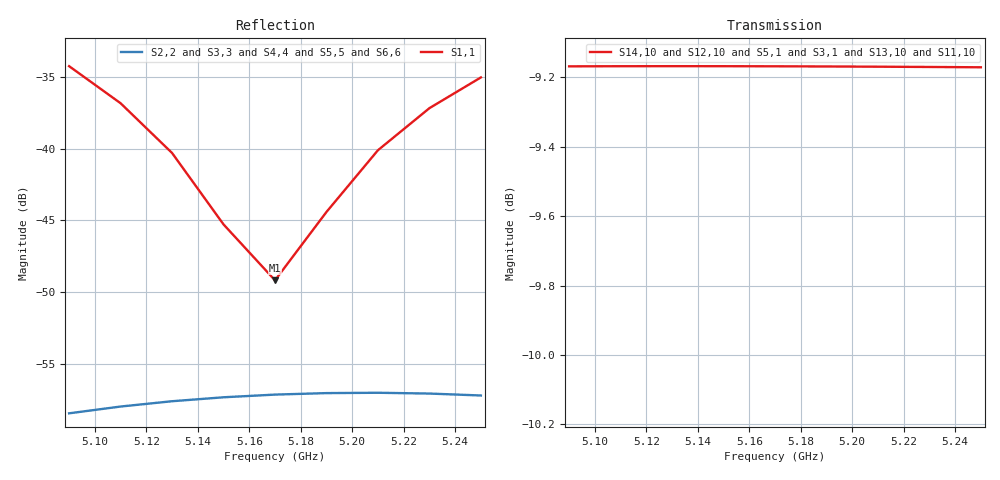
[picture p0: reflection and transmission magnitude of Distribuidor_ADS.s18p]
! Created with skrf 2.0.1 (http://scikit-rf.org).
! Port[1] = A_IN
! Port[2] = A1
! Port[3] = A2
! Port[4] = A3
! Port[5] = A4
! Port[6] = A5
! Port[7] = A6
! Port[8] = A7
! Port[9] = A8
! Port[10] = B_IN
! Port[11] = B1
! Port[12] = B2
! Port[13] = B3
! Port[14] = B4
! Port[15] = B5
! Port[16] = B6
! Port[17] = B7
! Port[18] = B8
!freq ReS11 ImS11 ReS12 ImS12 ReS13 ImS13
! ReS14 ImS14 ReS15 ImS15 ReS16 ImS16 ReS17 ImS17
! ReS18 ImS18 ReS19 ImS19 ReS110 ImS110 ReS111 ImS111
! ReS112 ImS112 ReS113 ImS113 ReS114 ImS114 ReS115 ImS115
! ReS116 ImS116 ReS117 ImS117 ReS118 ImS118
! ReS21 ImS21 ReS22 ImS22 ReS23 ImS23
! ReS24 ImS24 ReS25 ImS25 ReS26 ImS26 ReS27 ImS27
! ReS28 ImS28 ReS29 ImS29 ReS210 ImS210 ReS211 ImS211
! ReS212 ImS212 ReS213 ImS213 ReS214 ImS214 ReS215 ImS215
! ReS216 ImS216 ReS217 ImS217 ReS218 ImS218
! ReS31 ImS31 ReS32 ImS32 ReS33 ImS33
! ReS34 ImS34 ReS35 ImS35 ReS36 ImS36 ReS37 ImS37
! ReS38 ImS38 ReS39 ImS39 ReS310 ImS310 ReS311 ImS311
! ReS312 ImS312 ReS313 ImS313 ReS314 ImS314 ReS315 ImS315
! ReS316 ImS316 ReS317 ImS317 ReS318 ImS318
! ReS41 ImS41 ReS42 ImS42 ReS43 ImS43
! ReS44 ImS44 ReS45 ImS45 ReS46 ImS46 ReS47 ImS47
! ReS48 ImS48 ReS49 ImS49 ReS410 ImS410 ReS411 ImS411
! ReS412 ImS412 ReS413 ImS413 ReS414 ImS414 ReS415 ImS415
! ReS416 ImS416 ReS417 ImS417 ReS418 ImS418
! ReS51 ImS51 ReS52 ImS52 ReS53 ImS53
! ReS54 ImS54 ReS55 ImS55 ReS56 ImS56 ReS57 ImS57
! ReS58 ImS58 ReS59 ImS59 ReS510 ImS510 ReS511 ImS511
! ReS512 ImS512 ReS513 ImS513 ReS514 ImS514 ReS515 ImS515
! ReS516 ImS516 ReS517 ImS517 ReS518 ImS518
! ReS61 ImS61 ReS62 ImS62 ReS63 ImS63
! ReS64 ImS64 ReS65 ImS65 ReS66 ImS66 ReS67 ImS67
! ReS68 ImS68 ReS69 ImS69 ReS610 ImS610 ReS611 ImS611
! ReS612 ImS612 ReS613 ImS613 ReS614 ImS614 ReS615 ImS615
! ReS616 ImS616 ReS617 ImS617 ReS618 ImS618
! ReS71 ImS71 ReS72 ImS72 ReS73 ImS73
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# Hz S RI R 50.0
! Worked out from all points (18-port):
!   9 points, 5.09 GHz to 5.25 GHz, reference 50 ohm
!   strongest paths, dB at 5.09 GHz, 5.13 GHz, 5.17 GHz, 5.21 GHz, 5.25 GHz:
!     S14,10: -9.2, -9.2, -9.2, -9.2, -9.2
!     S12,10: -9.2, -9.2, -9.2, -9.2, -9.2
!     S5,1: -9.2, -9.2, -9.2, -9.2, -9.2
!     S3,1: -9.2, -9.2, -9.2, -9.2, -9.2
!     S13,10: -9.2, -9.2, -9.2, -9.2, -9.2
!     S11,10: -9.2, -9.2, -9.2, -9.2, -9.2
!   lowest |S11| = -49.2 dB at 5.17 GHz (marker M1), VSWR 1.01, Z = 50.3 + j0.241 ohm
!   |S11| at or under -10 dB: start of sweep to end of sweep
